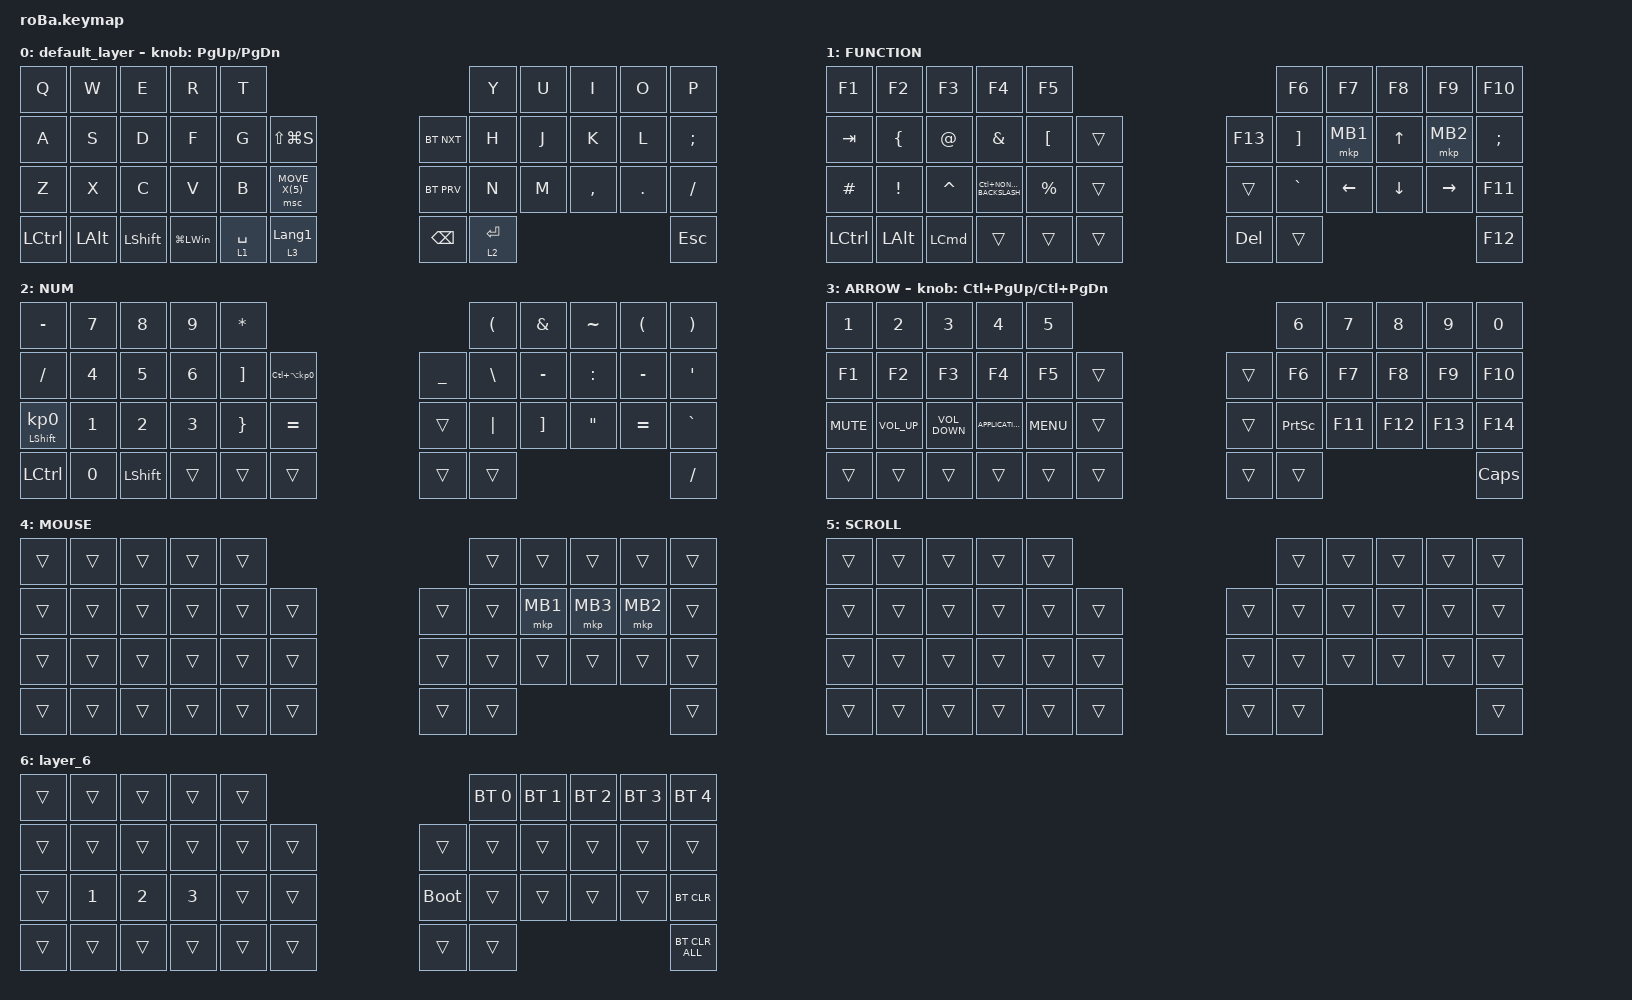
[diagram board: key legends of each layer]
#include <behaviors.dtsi>
#include <dt-bindings/zmk/bt.h>
#include <dt-bindings/zmk/keys.h>
#include <dt-bindings/zmk/pointing.h>

&mt {
    flavor = "balanced";
    quick-tap-ms = <0>;
};

&trackball {
    automouse-layer = <4>;
    scroll-layers = <5>;

    // arrows {
    //     layers = <3>;
    //     bindings =
    //         <&kp RIGHT_ARROW>,
    //         <&kp LEFT_ARROW>,
    //         <&kp UP_ARROW>,
    //         <&kp DOWN_ARROW>;
    //     tick = <10>;
    //     wait-ms = <5>;
    //     tap-ms = <5>;
    // };
};

/ {
    combos {
        compatible = "zmk,combos";

        tab {
            bindings = <&kp TAB>;
            key-positions = <11 12>;
        };

        shift_tab {
            bindings = <&kp LS(TAB)>;
            key-positions = <12 13>;
        };

        muhennkann {
            bindings = <&to_layer_0 INT_MUHENKAN>;
            key-positions = <11 10>;
        };

        double_quotation {
            bindings = <&kp DOUBLE_QUOTES>;
            key-positions = <20 21>;
        };

        eq {
            bindings = <&kp EQUAL>;
            key-positions = <24 25>;
        };
    };

    macros {
        to_layer_0: to_layer_0 {
            compatible = "zmk,behavior-macro-one-param";
            #binding-cells = <1>;
            bindings = <&to 0 &macro_param_1to1 &kp MACRO_PLACEHOLDER>;
            label = "TO_LAYER_0";
        };
    };

    behaviors {
        lt_to_layer_0: lt_to_layer_0 {
            compatible = "zmk,behavior-hold-tap";
            label = "LAYER_TAP_TO_0";
            bindings = <&mo>, <&to_layer_0>;

            #binding-cells = <2>;
            tapping-term-ms = <200>;
        };
    };

    keymap {
        compatible = "zmk,keymap";

        default_layer {
            bindings = <
&kp Q      &kp W         &kp E       &kp R         &kp T                                                        &kp Y        &kp U  &kp I      &kp O    &kp P
&kp A      &kp S         &kp D       &kp F         &kp G        &kp LS(LG(S))                    &bt BT_NXT     &kp H        &kp J  &kp K      &kp L    &kp SEMICOLON
&kp Z      &kp X         &kp C       &kp V         &kp B        &msc MOVE_X(5)                   &bt BT_PRV     &kp N        &kp M  &kp COMMA  &kp DOT  &kp SLASH
&kp LCTRL  &kp LEFT_ALT  &kp LSHIFT  &kp LG(LWIN)  &lt 1 SPACE  &lt_to_layer_0 3 LANGUAGE_1      &kp BACKSPACE  &lt 2 ENTER                             &kp ESCAPE
            >;

            sensor-bindings = <&inc_dec_kp PG_UP PAGE_DOWN>;
        };

        FUNCTION {
            bindings = <
&kp F1            &kp F2           &kp F3            &kp F4                    &kp F5                                 &kp F6             &kp F7          &kp F8          &kp F9           &kp F10
&kp TAB           &kp LEFT_BRACE   &kp AT_SIGN       &kp AMPERSAND             &kp LEFT_BRACKET  &trans      &kp F13  &kp RIGHT_BRACKET  &mkp MB1        &kp UP_ARROW    &mkp MB2         &kp SEMICOLON
&kp HASH          &kp EXCLAMATION  &kp CARET         &kp LC(NON_US_BACKSLASH)  &kp PERCENT       &trans      &trans   &kp GRAVE          &kp LEFT_ARROW  &kp DOWN_ARROW  &kp RIGHT_ARROW  &kp F11
&kp LEFT_CONTROL  &kp LEFT_ALT     &kp LEFT_COMMAND  &trans                    &trans            &trans      &kp DEL  &trans                                                              &kp F12
            >;
        };

        NUM {
            bindings = <
&kp MINUS                   &kp NUMBER_7  &kp NUMBER_8    &kp NUMBER_9  &kp ASTERISK                                                    &kp LEFT_PARENTHESIS  &kp AMPERSAND      &kp TILDE          &kp LEFT_PARENTHESIS  &kp RIGHT_PARENTHESIS
&kp SLASH                   &kp NUMBER_4  &kp NUMBER_5    &kp NUMBER_6  &kp RIGHT_BRACKET  &kp LC(LA(KP_NUMBER_0))      &kp UNDERSCORE  &kp BACKSLASH         &kp MINUS          &kp COLON          &kp MINUS             &kp SINGLE_QUOTE
&mt LEFT_SHIFT KP_NUMBER_0  &kp NUMBER_1  &kp NUMBER_2    &kp NUMBER_3  &kp RIGHT_BRACE    &kp EQUAL                    &trans          &kp PIPE              &kp RIGHT_BRACKET  &kp DOUBLE_QUOTES  &kp EQUAL             &kp GRAVE
&kp LEFT_CONTROL            &kp NUMBER_0  &kp LEFT_SHIFT  &trans        &trans             &trans                       &trans          &trans                                                                            &kp SLASH
            >;
        };

        ARROW {
            bindings = <
&kp NUMBER_1  &kp NUMBER_2     &kp NUMBER_3       &kp NUMBER_4       &kp NUMBER_5                      &kp NUMBER_6     &kp NUMBER_7  &kp NUMBER_8  &kp NUMBER_9  &kp NUMBER_0
&kp F1        &kp F2           &kp F3             &kp F4             &kp F5        &trans      &trans  &kp F6           &kp F7        &kp F8        &kp F9        &kp F10
&kp K_MUTE    &kp C_VOLUME_UP  &kp C_VOLUME_DOWN  &kp K_APPLICATION  &kp K_MENU    &trans      &trans  &kp PRINTSCREEN  &kp F11       &kp F12       &kp F13       &kp F14
&trans        &trans           &trans             &trans             &trans        &trans      &trans  &trans                                                     &kp CAPSLOCK
            >;

            sensor-bindings = <&inc_dec_kp LC(PAGE_UP) LC(PAGE_DOWN)>;
        };

        MOUSE {
            bindings = <
&trans  &trans  &trans  &trans  &trans                      &trans  &trans    &trans    &trans    &trans
&trans  &trans  &trans  &trans  &trans  &trans      &trans  &trans  &mkp MB1  &mkp MB3  &mkp MB2  &trans
&trans  &trans  &trans  &trans  &trans  &trans      &trans  &trans  &trans    &trans    &trans    &trans
&trans  &trans  &trans  &trans  &trans  &trans      &trans  &trans                                &trans
            >;
        };

        SCROLL {
            bindings = <
&trans  &trans  &trans  &trans  &trans                      &trans  &trans  &trans  &trans  &trans
&trans  &trans  &trans  &trans  &trans  &trans      &trans  &trans  &trans  &trans  &trans  &trans
&trans  &trans  &trans  &trans  &trans  &trans      &trans  &trans  &trans  &trans  &trans  &trans
&trans  &trans  &trans  &trans  &trans  &trans      &trans  &trans                          &trans
            >;
        };

        layer_6 {
            bindings = <
&trans  &trans        &trans        &trans        &trans                           &bt BT_SEL 0  &bt BT_SEL 1  &bt BT_SEL 2  &bt BT_SEL 3  &bt BT_SEL 4
&trans  &trans        &trans        &trans        &trans  &trans      &trans       &trans        &trans        &trans        &trans        &trans
&trans  &kp NUMBER_1  &kp NUMBER_2  &kp NUMBER_3  &trans  &trans      &bootloader  &trans        &trans        &trans        &trans        &bt BT_CLR
&trans  &trans        &trans        &trans        &trans  &trans      &trans       &trans                                                  &bt BT_CLR_ALL
            >;
        };
    };
};
